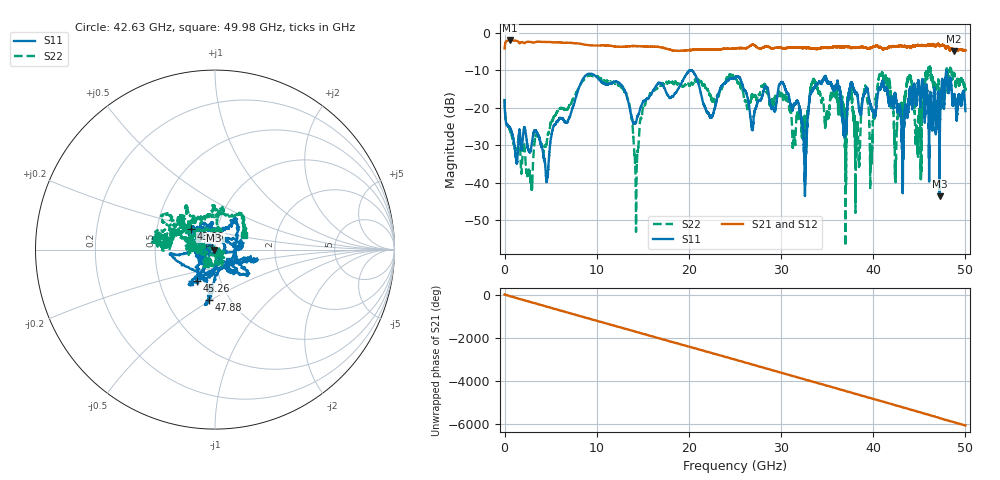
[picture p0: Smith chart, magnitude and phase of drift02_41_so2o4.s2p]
!Created with skrf (http://scikit-rf.org).
# Hz S RI R 50.0
!freq ReS11 ImS11 ReS21 ImS21 ReS12 ImS12 ReS22 ImS22
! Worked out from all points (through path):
!   10001 points, 300 kHz to 50 GHz, reference 50 ohm
!   highest |S21| = -1.99 dB at 585.3 MHz (marker M1); lowest = -4.8 dB at 48.77 GHz (marker M2)
!   group delay of S21, straight-line fit = 337 ps
!   lowest |S11| = -43.6 dB at 47.2 GHz (marker M3), VSWR 1.01, Z = 49.4 - j0.272 ohm
!   |S11| at or under -10 dB: start of sweep to 20.06 GHz; 20.20796 GHz to 20.22085 GHz (12.89 MHz wide, 0.0637 % of centre); 20.24 GHz to end of sweep (the widest 3 of 5)
!   |S22| runs from -57.0 to -8.9 dB; largest |S21 - S12| = 0.03
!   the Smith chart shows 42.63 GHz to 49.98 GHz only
!   S11 on the Smith chart (normalised r, x): 42.63 GHz: 0.86, -0.10; 43.96 GHz: 0.75, +0.18; 45.26 GHz: 0.77, -0.28; 47.88 GHz: 0.80, -0.48; 49.98 GHz: 1.16, -0.15
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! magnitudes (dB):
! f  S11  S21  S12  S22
! 300 kHz  -18.0  -4.1  -4.0  -17.6
! 585.3 MHz  -25.2  -2.0  -2.0  -26.0
! 4.575 GHz  -39.5  -2.4  -2.4  -29.1
! 8.335 GHz  -13.0  -2.9  -2.9  -13.2
! 13.01 GHz  -15.3  -3.7  -3.6  -15.7
! 14.28 GHz  -23.8  -3.5  -3.5  -49.0
! 16.67 GHz  -13.4  -3.7  -3.7  -14.5
! 25 GHz  -12.1  -4.1  -4.1  -12.2
! 26.86 GHz  -25.7  -3.1  -3.1  -16.5
! 30.19 GHz  -13.4  -4.1  -4.1  -17.0
! 32.58 GHz  -38.2  -4.0  -4.0  -25.0
! 33.34 GHz  -15.8  -4.1  -4.1  -13.6
! 38.29 GHz  -16.9  -3.9  -3.9  -23.9
! 41.67 GHz  -18.4  -3.8  -3.9  -13.1
! 42.63 GHz  -20.9  -3.5  -3.5  -22.4
! 43.96 GHz  -15.1  -3.6  -3.6  -11.5
! 45.26 GHz  -13.9  -3.3  -3.3  -22.7
! 47.2 GHz  -43.6  -3.5  -3.4  -16.3
! 47.88 GHz  -11.0  -4.1  -4.1  -12.7
! 48.77 GHz  -17.0  -4.8  -4.8  -10.8
! 49.98 GHz  -19.8  -4.6  -4.5  -14.9
! 50 GHz  -20.9  -4.6  -4.6  -15.2
